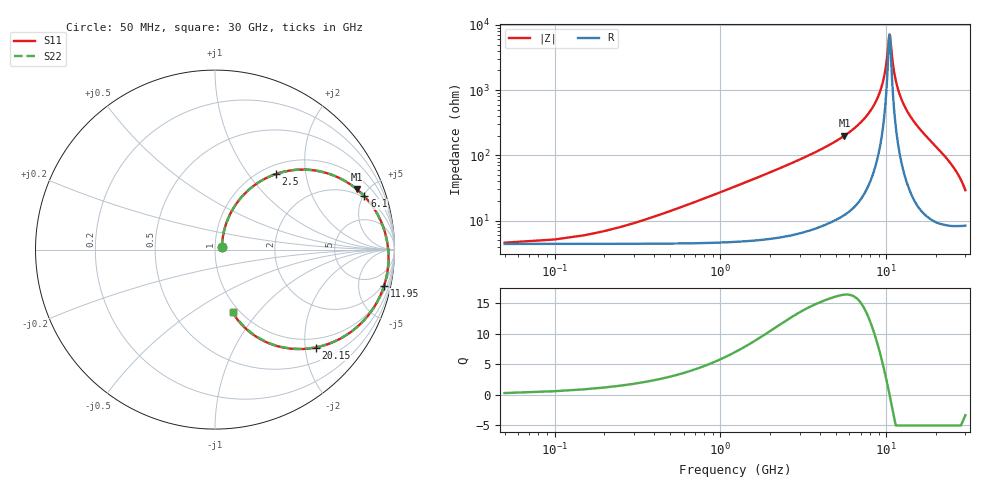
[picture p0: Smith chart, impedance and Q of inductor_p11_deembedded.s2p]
! openEMS extraction of the IHP SG13G2 inductor PCell, geometry p11
! port parasitic de-embedded by cascading a negative series L per port
! L_port = [1.586 1.586] pH (Terman flat-ribbon, from port_information.json)
# Hz S RI R 50
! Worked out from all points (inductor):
!   600 points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, 50 MHz to 30 GHz, reference 50 ohm
!   read as one part in series: L = 4.23 nH near 500 MHz
!   highest Q = 16.4 at 5.6 GHz (marker M1), where L = 5.68 nH
!   self-resonance near 10.45 GHz
!   S11 on the Smith chart (normalised r, x): 50 MHz: 1.08, +0.03; 2.5 GHz: 1.15, +1.37; 6.1 GHz: 1.88, +5.11; 11.95 GHz: 1.62, -9.14; 20.15 GHz: 0.79, -2.22; 30 GHz: 0.93, -0.75
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5e7  0.0381 0.0118  0.9538 -0.0126  0.9538 -0.0126  0.0381 0.0118
5e8  0.0535 0.1166  0.9376 -0.1238  0.9376 -0.1238  0.0535 0.1166
9.5e8  0.0924 0.2132  0.897 -0.2261  0.897 -0.2261  0.0924 0.2132
1.6e9  0.1811 0.3267  0.8051 -0.3462  0.8051 -0.3462  0.1811 0.3267
2.5e9  0.3377 0.4206  0.6454 -0.4463  0.6454 -0.4463  0.3376 0.4206
5.05e9  0.7307 0.3785  0.2518 -0.4237  0.2518 -0.4237  0.7305 0.3788
5.6e9  0.7884 0.3379  0.1936 -0.3879  0.1936 -0.3879  0.7883 0.3383
6.1e9  0.8325 0.2968  0.1489 -0.351  0.1489 -0.351  0.8324 0.2972
7.6e9  0.9226 0.1623  0.0578 -0.2286  0.0578 -0.2286  0.9225 0.1627
8.75e9  0.9563 0.0578  0.0235 -0.1339  0.0235 -0.1339  0.9563 0.0584
9.55e9  0.9657 -0.0123  0.0134 -0.0707  0.0134 -0.0707  0.9657 -0.0116
1.005e10  0.9666 -0.0545  0.012 -0.0327  0.012 -0.0327  0.9667 -0.0539
1.035e10  0.9656 -0.0793  0.0127 -0.0105  0.0127 -0.0105  0.9657 -0.0786
1.05e10  0.9646 -0.0915  0.0135 0.000448  0.0135 0.000448  0.9647 -0.0908
1.12e10  0.9565 -0.1466  0.021 0.0497  0.021 0.0497  0.9567 -0.1458
1.195e10  0.942 -0.2022  0.0349 0.0989  0.0349 0.0989  0.9422 -0.2014
1.32e10  0.9063 -0.2863  0.0693 0.1723  0.0693 0.1723  0.9067 -0.2854
1.505e10  0.8332 -0.3904  0.1401 0.2605  0.1401 0.2605  0.8338 -0.3894
2.005e10  0.5661 -0.5444  0.3995 0.3711  0.3995 0.3711  0.5676 -0.5433
2.015e10  0.5603 -0.5456  0.4051 0.3714  0.4051 0.3714  0.5618 -0.5444
2.505e10  0.2889 -0.517  0.6666 0.2997  0.6666 0.2997  0.2915 -0.5162
3e10  0.0976 -0.3489  0.8448 0.0874  0.8448 0.0874  0.1013 -0.3489
